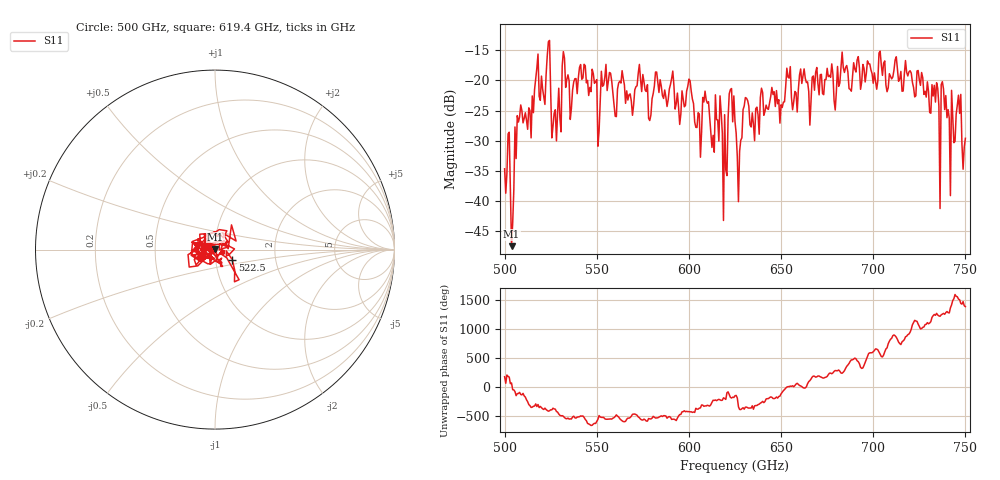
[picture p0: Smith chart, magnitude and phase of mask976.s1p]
!Created with skrf (http://scikit-rf.org).
# GHz S MA R 50.0
!freq magS11 angS11
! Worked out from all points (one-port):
!   401 points, 500 GHz to 750 GHz, reference 50 ohm
!   lowest |S11| = -47.5 dB at 503.8 GHz (marker M1), VSWR 1.01, Z = 50.1 + j0.394 ohm
!   |S11| at or under -10 dB: start of sweep to end of sweep
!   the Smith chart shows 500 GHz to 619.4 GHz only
!   S11 on the Smith chart (normalised r, x): 500 GHz: 0.96, +0.00; 522.5 GHz: 1.20, -0.13; 619.4 GHz: 0.91, +0.03
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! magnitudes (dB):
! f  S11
! 500 GHz  -34.7
! 503.8 GHz  -47.5
! 508.1 GHz  -26.1
! 522.5 GHz  -19.1
! 523.8 GHz  -13.6
! 526.9 GHz  -25.5
! 531.2 GHz  -17.6
! 550.6 GHz  -30.9
! 562.5 GHz  -20.1
! 593.8 GHz  -22.1
! 600 GHz  -19.8
! 605.6 GHz  -25.6
! 609.4 GHz  -23.2
! 612.5 GHz  -31.1
! 616.9 GHz  -22.6
! 619.4 GHz  -25.7
! 623.1 GHz  -21.3
! 625 GHz  -26.8
! 627.5 GHz  -31.8
! 630.6 GHz  -22.8
! 656.2 GHz  -24.9
! 687.5 GHz  -21.5
! 718.8 GHz  -19.3
! 735 GHz  -21.3
! 738.1 GHz  -21.4
! 743.1 GHz  -25.9
! 746.2 GHz  -22.5
! 750 GHz  -29.6
